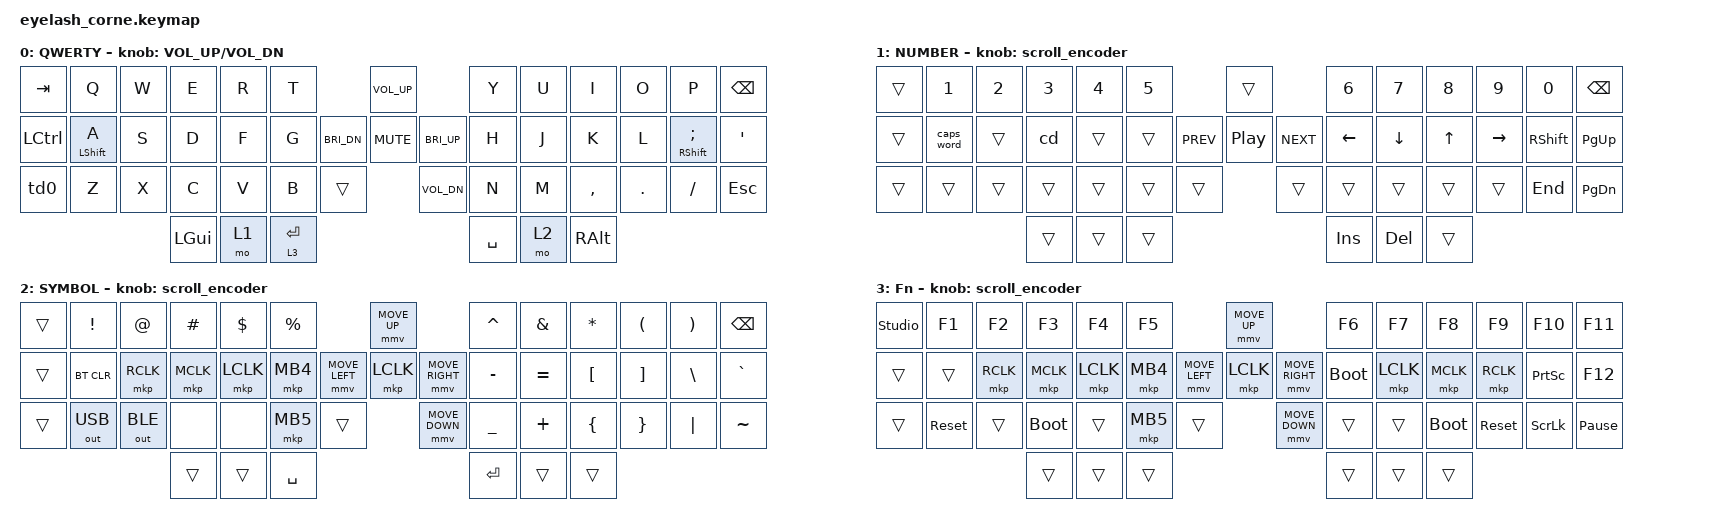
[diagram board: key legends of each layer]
#define ZMK_POINTING_DEFAULT_MOVE_VAL 1200  // 600
#define ZMK_POINTING_DEFAULT_SCRL_VAL 25   // 10

#include <input/processors.dtsi>
#include <zephyr/dt-bindings/input/input-event-codes.h>
#include <behaviors.dtsi>
#include <dt-bindings/zmk/bt.h>
#include <dt-bindings/zmk/keys.h>
#include <dt-bindings/zmk/outputs.h>
#include <dt-bindings/zmk/pointing.h>
#include <dt-bindings/zmk/rgb.h>

&mmv_input_listener { input-processors = <&zip_xy_scaler 2 1>; };

&msc_input_listener { input-processors = <&zip_scroll_scaler 2 1>; };

&msc {
    acceleration-exponent = <1>;      // 0
    time-to-max-speed-ms = <100>;       // 300
    delay-ms = <0>;                   // 0
};

&mmv {
    time-to-max-speed-ms = <500>;
    acceleration-exponent = <1>;
    trigger-period-ms = <16>;
};

&soft_off { hold-time-ms = <2000>; };

/ {
    behaviors {
        td0: td0 {
            compatible = "zmk,behavior-tap-dance";
            display-name = "Shift/Caps Lock Tap Dance";
            #binding-cells = <0>;
            bindings = <&kp LEFT_SHIFT>, <&kp CAPS>;
        };

        hrmt: mod_tap {
            compatible = "zmk,behavior-hold-tap";
            #binding-cells = <2>;
            flavor = "balanced";
            require-prior-idle-ms = <150>;
            tapping-term-ms = <280>;
            quick-tap-ms = <175>;
            bindings = <&kp>, <&kp>;
            //hold-trigger-key-positions = < ... >; // List of keys on the right side of the keyboard
            hold-trigger-on-release;
        };
    };

    rgb_encoder: rgb_encoder {
        compatible = "zmk,behavior-sensor-rotate";
        #sensor-binding-cells = <0>;
        bindings = <&rgb_ug RGB_BRI>, <&rgb_ug RGB_BRD>;
    };

    scroll_encoder: scroll_encoder {
        compatible = "zmk,behavior-sensor-rotate";
        #sensor-binding-cells = <0>;
        bindings = <&msc SCRL_DOWN>, <&msc SCRL_UP>;

        tap-ms = <100>;
    };

    combos {
        compatible = "zmk,combos";

        softoff {
            bindings = <&soft_off>;
            key-positions = <1 15 29>;
        };
    };

    macros {
        cd: cd {
            compatible = "zmk,behavior-macro";
            #binding-cells = <0>;
            bindings = <&kp C &kp D &kp SPACE>;
        };
    };

    keymap {
        compatible = "zmk,keymap";

        default_layer {
            display-name = "QWERTY";
            bindings = <
&kp TAB    &kp Q           &kp W  &kp E     &kp R  &kp T                                   &kp C_VOL_UP                &kp Y        &kp U  &kp I      &kp O    &kp P              &kp BSPC
&kp LCTRL  &hrmt LSHIFT A  &kp S  &kp D     &kp F  &kp G                     &kp C_BRI_DN  &kp C_MUTE    &kp C_BRI_UP  &kp H        &kp J  &kp K      &kp L    &hrmt RSHIFT SEMI  &kp SQT
&td0       &kp Z           &kp X  &kp C     &kp V  &kp B        &trans                     &kp C_VOL_DN                &kp N        &kp M  &kp COMMA  &kp DOT  &kp FSLH           &kp ESC
                                  &kp LGUI  &mo 1  &lt 3 ENTER                                                         &kp SPACE    &mo 2  &kp RALT
            >;

            sensor-bindings = <&inc_dec_kp C_VOLUME_UP C_VOL_DN>;
        };

        lower_layer {
            display-name = "NUMBER";
            bindings = <
&trans  &kp N1           &kp N2          &kp N3        &kp N4        &kp N5                            &trans                &kp N6           &kp N7           &kp N8           &kp N9           &kp N0      &kp BSPC
&trans  &caps_word       &trans          &cd           &trans        &trans                &kp C_PREV  &kp C_PP   &kp C_NEXT &kp LEFT         &kp DOWN         &kp UP           &kp RIGHT        &kp RSHIFT  &kp PG_UP
&trans  &trans           &trans          &trans        &trans        &trans     &trans                 &trans                &trans           &trans           &trans           &trans           &kp END     &kp PG_DN
                                         &trans        &trans        &trans                                                  &kp INS          &kp DEL          &trans
            >;

            sensor-bindings = <&scroll_encoder>;
        };

        raise_layer {
            display-name = "SYMBOL";
            bindings = <
&trans  &kp EXCL      &kp AT        &kp HASH   &kp DLLR   &kp PRCNT                            &mmv MOVE_UP                     &kp CARET  &kp AMPS   &kp ASTRK  &kp LPAR  &kp RPAR  &kp BSPC
&trans  &bt BT_CLR    &mkp RCLK     &mkp MCLK  &mkp LCLK  &mkp MB4             &mmv MOVE_LEFT  &mkp LCLK       &mmv MOVE_RIGHT  &kp MINUS  &kp EQUAL  &kp LBKT   &kp RBKT  &kp BSLH  &kp GRAVE
&trans  &out OUT_USB  &out OUT_BLE  &none      &none      &mkp MB5   &trans                    &mmv MOVE_DOWN                   &kp UNDER  &kp PLUS   &kp LBRC   &kp RBRC  &kp PIPE  &kp TILDE
                                    &trans     &trans     &kp SPACE                                                             &kp RET    &trans     &trans
            >;

            sensor-bindings = <&scroll_encoder>;
        };

        layer_3 {
            display-name = "Fn";
            bindings = <
&studio_unlock  &kp F1      &kp F2     &kp F3       &kp F4     &kp F5                                  &mmv MOVE_UP                     &kp F6       &kp F7     &kp F8       &kp F9      &kp F10          &kp F11
&trans          &trans      &mkp RCLK  &mkp MCLK    &mkp LCLK  &mkp MB4                &mmv MOVE_LEFT  &mkp LCLK       &mmv MOVE_RIGHT  &bootloader  &mkp LCLK  &mkp MCLK    &mkp RCLK   &kp PRINTSCREEN  &kp F12
&trans          &sys_reset  &trans     &bootloader  &trans     &mkp MB5  &trans                        &mmv MOVE_DOWN                   &trans       &trans     &bootloader  &sys_reset  &kp SCROLLLOCK   &kp PAUSE_BREAK
                                       &trans       &trans     &trans                                                                   &trans       &trans     &trans
            >;

            sensor-bindings = <&scroll_encoder>;
        };
    };
};
